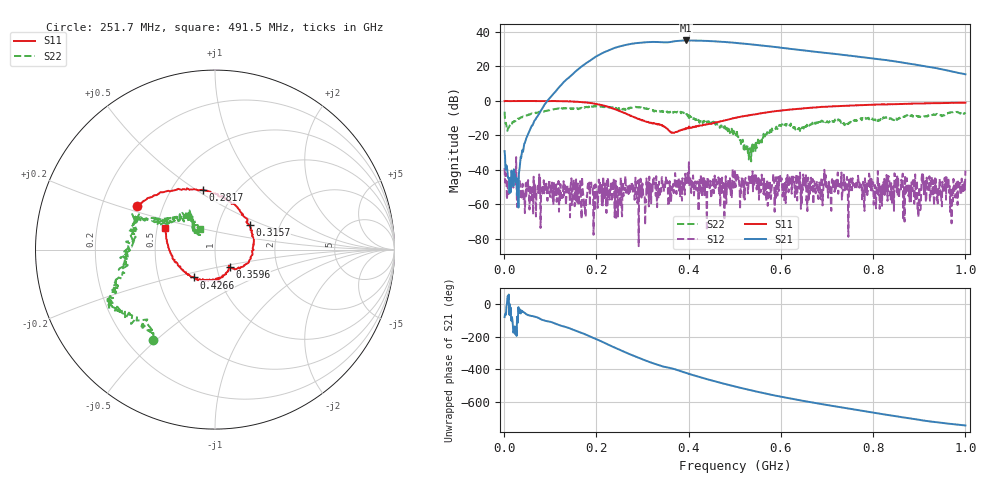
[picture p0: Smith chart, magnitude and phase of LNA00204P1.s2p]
! Created with skrf 1.9.0 (http://scikit-rf.org).
# Hz S RI R 50.0
!freq ReS11 ImS11 ReS21 ImS21 ReS12 ImS12 ReS22 ImS22
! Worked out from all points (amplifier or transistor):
!   1001 points, 1 MHz to 1 GHz, reference 50 ohm
!   highest |S21| = 35.1 dB at 394.6 MHz (marker M1)
!   |S21| within 3 dB of that: 256.8 MHz to 561.2 MHz (304.4 MHz wide, 74.4 % of centre)
!   unconditionally stable (mu >= 1): start of sweep to 107.5 MHz; 314.7 MHz to 400.3 MHz; 400.9 MHz to end of sweep (the widest 3 of 26)
!   at 166.8 MHz: K = 3.60, MAG = 29.7 dB, |S12| = -56.7 dB
!   at 500.5 MHz: K = 1.18, MAG = 34.3 dB, |S12| = -40.0 dB
!   at 1 GHz: K = 1.22, MAG = 25.1 dB, |S12| = -40.4 dB
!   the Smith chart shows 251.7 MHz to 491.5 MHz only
!   S11 on the Smith chart (normalised r, x): 251.7 MHz: 0.36, +0.23; 281.7 MHz: 0.71, +0.53; 315.7 MHz: 1.41, +0.40; 359.6 MHz: 1.16, -0.23; 426.6 MHz: 0.76, -0.24; 491.5 MHz: 0.55, +0.14
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1000000  0.9856 0.00352  0.0059 -0.0347  -0.00488 0.0103  0.3181 0.3693
1.08892e8  0.5113 -0.8462  -0.8041 -1.525  0.00148 -0.00106  0.4392 -0.3655
1.67833e8  -0.2461 -0.8908  -9.952 -0.5538  2.86e-05 -0.000377  0.0547 -0.6297
2.12788e8  -0.6831 -0.3222  -15.08 18.92  -0.00377 -0.000153  -0.1972 -0.6532
2.31769e8  -0.6326 -0.00915  -7.48 30.52  -0.0038 -0.00258  -0.2765 -0.5898
2.51749e8  -0.4329 0.2442  7.715 37.64  0.000823 0.000264  -0.3429 -0.5025
2.81719e8  -0.0664 0.3336  34.34 31.15  0.000338 0.00248  -0.5722 -0.3194
3.15685e8  0.1922 0.1349  50.71 4.147  -0.000105 0.00195  -0.5462 -0.1643
3.34666e8  0.2087 -0.0208  49.54 -12  7.16e-05 0.00151  -0.5061 -0.0504
3.59641e8  0.0831 -0.0985  43.51 -26.45  -0.000179 0.00134  -0.4753 0.1044
3.75625e8  0.0783 -0.1032  39.49 -38.3  0.000893 0.00553  -0.4509 0.1789
3.94606e8  0.0322 -0.1576  26.93 -49.83  0.00187 0.00532  -0.3842 0.1706
4.26574e8  -0.1179 -0.1549  1.098 -55.56  0.00629 0.00384  -0.1987 0.1608
4.55545e8  -0.2261 -0.066  -19.85 -49.53  0.00217 0.00508  -0.1579 0.178
4.91509e8  -0.2768 0.1187  -36.7 -33.11  0.000211 0.00186  -0.0849 0.1166
5.005e8  -0.2686 0.173  -39.46 -28.16  0.00725 -0.00696  -0.1019 0.0487
5.36464e8  -0.186 0.3464  -42.52 -8.49  0.007 -0.00222  -0.0346 0.0342
5.83417e8  0.0125 0.4954  -35.38 11.1  0.00675 -0.00364  -0.1185 -0.0986
6.67333e8  0.4094 0.4887  -12.86 23.88  0.00266 -0.00372  -0.2115 -0.0379
7.53247e8  0.6819 0.2698  4.351 19.7  -0.000301 -0.00365  -0.2286 -0.0056
8.34166e8  0.7957 0.00269  11.26 9.695  0.0018 -0.00558  -0.3112 -0.031
1e9  0.7196 -0.5249  5.481 -2.239  -0.00955 0.000655  -0.3799 0.1818
